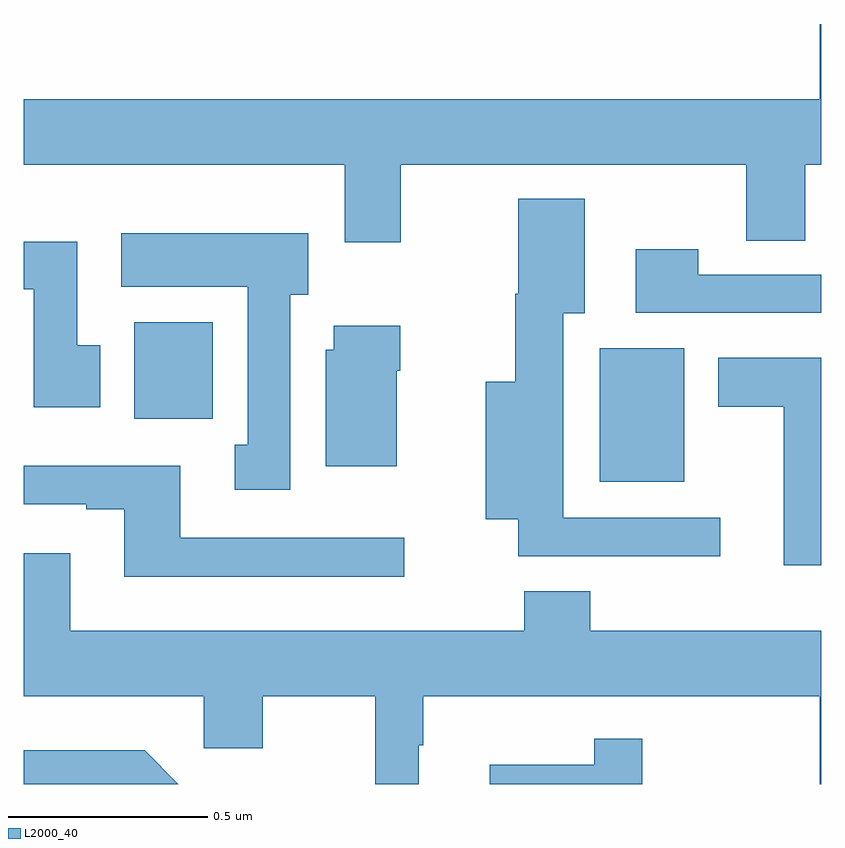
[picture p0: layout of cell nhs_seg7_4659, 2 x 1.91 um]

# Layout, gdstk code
import gdstk
lib = gdstk.Library(unit=1e-6, precision=1e-09)
def R(c, l, rs):  # rectangles x0, y0, x1, y1
    for r in rs: c.add(gdstk.rectangle(r[:2], r[2:], *l))
def P(c, l, *ps):  # polygons
    for p in ps: c.add(gdstk.Polygon(p, *l))
L2000_40 = (2000, 40)

nhs_seg7_4659 = lib.new_cell('nhs_seg7_4659')
R(nhs_seg7_4659, L2000_40, [(176.444,1063.757,176.656,1064.092), (175.277,1063.916,175.474,1064.158)])
P(nhs_seg7_4659, L2000_40, [(175.945,1064.552),(176.812,1064.552),(176.812,1064.362),(176.959,1064.362),(176.959,1064.552),(177,1064.552),(177,1064.905),(176.996,1064.905),(176.996,1064.716),(175,1064.716),(175,1064.552),(175.805,1064.552),(175.805,1064.358),(175.945,1064.358)],
  [(176.746,1063.668),(176.353,1063.668),(176.353,1064.18),(176.407,1064.18),(176.407,1064.467),(176.24,1064.467),(176.24,1064.229),(176.233,1064.229),(176.233,1064.008),(176.159,1064.008),(176.159,1063.664),(176.24,1063.664),(176.24,1063.571),(176.746,1063.571)],
  [(175.669,1064.226),(175.714,1064.226),(175.714,1064.38),(175.245,1064.38),(175.245,1064.246),(175.562,1064.246),(175.562,1063.85),(175.529,1063.85),(175.529,1063.737),(175.669,1063.737)],
  [(175.192,1064.1),(175.135,1064.1),(175.135,1064.359),(175,1064.359),(175,1064.24),(175.025,1064.24),(175.025,1063.944),(175.192,1063.944)],
  [(177,1064.277),(176.691,1064.277),(176.691,1064.341),(176.535,1064.341),(176.535,1064.181),(177,1064.181)],
  [(175.936,1064.036),(175.944,1064.036),(175.944,1064.149),(175.778,1064.149),(175.778,1064.088),(175.757,1064.088),(175.757,1063.796),(175.936,1063.796)],
  [(177,1064.068),(176.741,1064.068),(176.741,1063.946),(176.906,1063.946),(176.906,1063.548),(177,1063.548)],
  [(175.954,1063.617),(175.393,1063.617),(175.393,1063.798),(175,1063.798),(175,1063.701),(175.157,1063.701),(175.157,1063.689),(175.253,1063.689),(175.253,1063.52),(175.954,1063.52)],
  [(175.99,1063.097),(176.002,1063.097),(176.002,1063.22),(176.996,1063.22),(176.996,1063),(177,1063),(177,1063.384),(176.42,1063.384),(176.42,1063.483),(176.255,1063.483),(176.255,1063.384),(175.117,1063.384),(175.117,1063.579),(175,1063.579),(175,1063.22),(175.452,1063.22),(175.452,1063.089),(175.599,1063.089),(175.599,1063.22),(175.881,1063.22),(175.881,1063),(175.99,1063)],
  [(176.551,1063.114),(176.43,1063.114),(176.43,1063.048),(176.168,1063.048),(176.168,1063),(176.551,1063)],
  [(175.304,1063.084),(175,1063.084),(175,1063),(175.388,1063)])

lib.write_gds('nhs_seg7_4659.gds')
